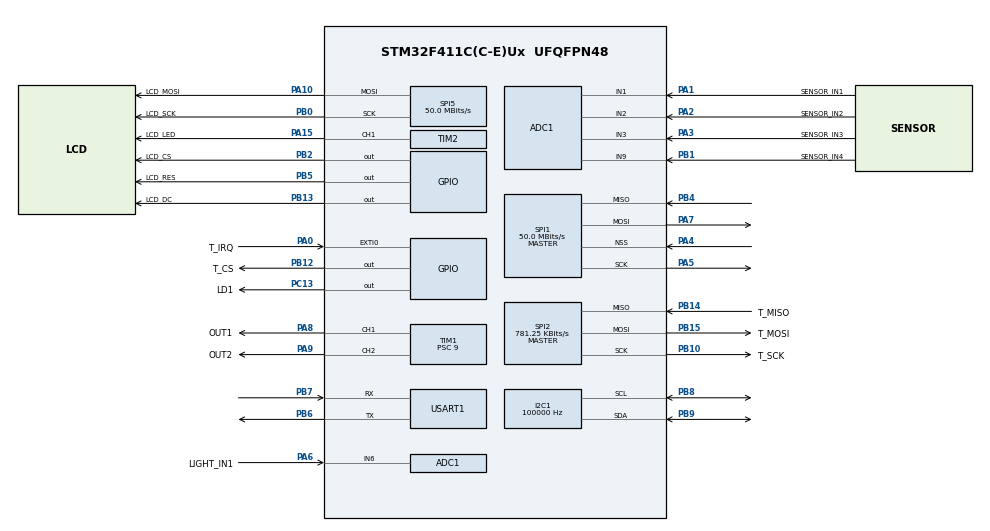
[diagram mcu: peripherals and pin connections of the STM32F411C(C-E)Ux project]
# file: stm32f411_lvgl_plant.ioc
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ADC1.Channel-0\#ChannelRegularConversion=ADC_CHANNEL_1
ADC1.Channel-1\#ChannelRegularConversion=ADC_CHANNEL_2
ADC1.Channel-2\#ChannelRegularConversion=ADC_CHANNEL_3
ADC1.Channel-3\#ChannelRegularConversion=ADC_CHANNEL_6
ADC1.Channel-4\#ChannelRegularConversion=ADC_CHANNEL_9
ADC1.ClockPrescaler=ADC_CLOCK_SYNC_PCLK_DIV8
ADC1.ContinuousConvMode=ENABLE
ADC1.DMAContinuousRequests=ENABLE
ADC1.EOCSelection=ADC_EOC_SEQ_CONV
ADC1.NbrOfConversion=5
ADC1.NbrOfConversionFlag=1
ADC1.Rank-0\#ChannelRegularConversion=1
ADC1.Rank-1\#ChannelRegularConversion=2
ADC1.Rank-2\#ChannelRegularConversion=3
ADC1.Rank-3\#ChannelRegularConversion=4
ADC1.Rank-4\#ChannelRegularConversion=5
ADC1.SamplingTime-0\#ChannelRegularConversion=ADC_SAMPLETIME_84CYCLES
ADC1.SamplingTime-1\#ChannelRegularConversion=ADC_SAMPLETIME_84CYCLES
ADC1.SamplingTime-2\#ChannelRegularConversion=ADC_SAMPLETIME_84CYCLES
ADC1.SamplingTime-3\#ChannelRegularConversion=ADC_SAMPLETIME_84CYCLES
ADC1.SamplingTime-4\#ChannelRegularConversion=ADC_SAMPLETIME_84CYCLES
ADC1.ScanConvMode=ENABLE
ADC1.master=1
Dma.ADC1.1.Direction=DMA_PERIPH_TO_MEMORY
Dma.ADC1.1.FIFOMode=DMA_FIFOMODE_DISABLE
Dma.ADC1.1.Instance=DMA2_Stream0
Dma.ADC1.1.MemDataAlignment=DMA_MDATAALIGN_HALFWORD
Dma.ADC1.1.MemInc=DMA_MINC_ENABLE
Dma.ADC1.1.Mode=DMA_CIRCULAR
Dma.ADC1.1.PeriphDataAlignment=DMA_PDATAALIGN_HALFWORD
Dma.ADC1.1.PeriphInc=DMA_PINC_DISABLE
Dma.ADC1.1.Priority=DMA_PRIORITY_LOW
Dma.Request0=SPI5_TX
Dma.Request1=ADC1
Dma.SPI5_TX.0.Direction=DMA_MEMORY_TO_PERIPH
Dma.SPI5_TX.0.FIFOMode=DMA_FIFOMODE_DISABLE
Dma.SPI5_TX.0.Instance=DMA2_Stream4
Dma.SPI5_TX.0.MemDataAlignment=DMA_MDATAALIGN_BYTE
Dma.SPI5_TX.0.MemInc=DMA_MINC_ENABLE
Dma.SPI5_TX.0.Mode=DMA_NORMAL
Dma.SPI5_TX.0.PeriphDataAlignment=DMA_PDATAALIGN_BYTE
Dma.SPI5_TX.0.PeriphInc=DMA_PINC_DISABLE
Dma.SPI5_TX.0.Priority=DMA_PRIORITY_VERY_HIGH
I2C1.ClockSpeed=100000
I2C1.I2C_Mode=I2C_Standard
Mcu.Family=STM32F4
Mcu.Name=STM32F411C(C-E)Ux
Mcu.Package=UFQFPN48
NVIC.DMA2_Stream0_IRQn=true\:0\:0\:false\:false\:true\:false\:true\:true
NVIC.DMA2_Stream4_IRQn=true\:0\:0\:false\:false\:true\:false\:true\:true
NVIC.EXTI0_IRQn=true\:0\:0\:false\:false\:true\:true\:true\:true
NVIC.I2C1_ER_IRQn=true\:0\:0\:false\:false\:true\:true\:true\:true
NVIC.I2C1_EV_IRQn=true\:0\:0\:false\:false\:true\:true\:true\:true
NVIC.PriorityGroup=NVIC_PRIORITYGROUP_4
NVIC.TIM1_UP_TIM10_IRQn=true\:0\:0\:false\:false\:true\:true\:true\:true
NVIC.TIM2_IRQn=true\:0\:0\:false\:false\:true\:true\:true\:true
NVIC.TIM5_IRQn=true\:0\:0\:false\:false\:true\:true\:true\:true
PA0-WKUP.GPIO_Label=T_IRQ
PA0-WKUP.GPIO_ModeDefaultEXTI=GPIO_MODE_IT_FALLING
PA0-WKUP.GPIO_PuPd=GPIO_PULLUP
PA0-WKUP.Signal=GPXTI0
PA1.GPIO_Label=SENSOR_IN1
PA1.Signal=ADCx_IN1
PA10.GPIO_Label=LCD_MOSI
PA10.Mode=TX_Only_Simplex_Unidirect_Master
PA10.Signal=SPI5_MOSI
PA13.Mode=Trace_Asynchronous_SW
PA13.Signal=SYS_JTMS-SWDIO
PA14.Mode=Trace_Asynchronous_SW
PA14.Signal=SYS_JTCK-SWCLK
PA15.GPIO_Label=LCD_LED
PA15.Signal=S_TIM2_CH1_ETR
PA2.GPIO_Label=SENSOR_IN2
PA2.Signal=ADCx_IN2
PA3.GPIO_Label=SENSOR_IN3
PA3.Signal=ADCx_IN3
PA4.Mode=NSS_Signal_Hard_Input
PA4.Signal=SPI1_NSS
PA5.Mode=Full_Duplex_Master
PA5.Signal=SPI1_SCK
PA6.GPIO_Label=LIGHT_IN1
PA6.Signal=ADCx_IN6
PA7.Mode=Full_Duplex_Master
PA7.Signal=SPI1_MOSI
PA8.GPIO_Label=OUT1
PA8.Signal=S_TIM1_CH1
PA9.GPIO_Label=OUT2
PA9.Signal=S_TIM1_CH2
PB0.GPIO_Label=LCD_SCK
PB0.Mode=TX_Only_Simplex_Unidirect_Master
PB0.Signal=SPI5_SCK
PB1.GPIO_Label=SENSOR_IN4
PB1.Signal=ADCx_IN9
PB10.GPIO_Label=T_SCK
PB10.Mode=Full_Duplex_Master
PB10.Signal=SPI2_SCK
PB12.GPIO_Label=T_CS
PB12.GPIO_Speed=GPIO_SPEED_FREQ_HIGH
PB12.PinState=GPIO_PIN_SET
PB12.Signal=GPIO_Output
PB13.GPIO_Label=LCD_DC
PB13.Signal=GPIO_Output
PB14.GPIO_Label=T_MISO
PB14.Mode=Full_Duplex_Master
PB14.Signal=SPI2_MISO
PB15.GPIO_Label=T_MOSI
PB15.Mode=Full_Duplex_Master
PB15.Signal=SPI2_MOSI
PB2.GPIO_Label=LCD_CS
PB2.Signal=GPIO_Output
PB3.Mode=Trace_Asynchronous_SW
PB3.Signal=SYS_JTDO-SWO
PB4.Mode=Full_Duplex_Master
PB4.Signal=SPI1_MISO
PB5.GPIO_Label=LCD_RES
PB5.Signal=GPIO_Output
PB6.Mode=Asynchronous
PB6.Signal=USART1_TX
PB7.Mode=Asynchronous
PB7.Signal=USART1_RX
PB8.Mode=I2C
PB8.Signal=I2C1_SCL
PB9.Mode=I2C
PB9.Signal=I2C1_SDA
PC13-ANTI_TAMP.GPIO_Label=LD1
PC13-ANTI_TAMP.Signal=GPIO_Output
PC14-OSC32_IN.Mode=LSE-External-Oscillator
PC14-OSC32_IN.Signal=RCC_OSC32_IN
PC15-OSC32_OUT.Mode=LSE-External-Oscillator
PC15-OSC32_OUT.Signal=RCC_OSC32_OUT
PH0\ -\ OSC_IN.Mode=HSE-External-Oscillator
PH0\ -\ OSC_IN.Signal=RCC_OSC_IN
PH1\ -\ OSC_OUT.Mode=HSE-External-Oscillator
PH1\ -\ OSC_OUT.Signal=RCC_OSC_OUT
ProjectManager.HeapSize=0x200
ProjectManager.StackSize=0x400
ProjectManager.TargetToolchain=STM32CubeIDE
RCC.48MHZClocksFreq_Value=50000000
RCC.AHBFreq_Value=100000000
RCC.APB1CLKDivider=RCC_HCLK_DIV2
RCC.APB1Freq_Value=50000000
RCC.APB1TimFreq_Value=100000000
RCC.APB2Freq_Value=100000000
RCC.APB2TimFreq_Value=100000000
RCC.CortexFreq_Value=100000000
RCC.HCLKFreq_Value=100000000
RCC.HSE_VALUE=25000000
RCC.HSI_VALUE=16000000
RCC.PLLM=12
RCC.PLLN=96
RCC.PLLSourceVirtual=RCC_PLLSOURCE_HSE
RCC.RCC_RTC_Clock_Source=RCC_RTCCLKSOURCE_LSE
RCC.RCC_RTC_Clock_SourceVirtual=RCC_RTCCLKSOURCE_LSE
RCC.SYSCLKFreq_VALUE=100000000
RCC.SYSCLKSource=RCC_SYSCLKSOURCE_PLLCLK
RCC.VCOOutputFreq_Value=200000000
RTC.Date=26
RTC.Format=RTC_FORMAT_BIN
RTC.Hours=12
RTC.Minutes=13
RTC.Month=RTC_MONTH_OCTOBER
RTC.Seconds=14
RTC.WeekDay=RTC_WEEKDAY_THURSDAY
RTC.Year=22
SH.ADCx_IN1.0=ADC1_IN1,IN1
SH.ADCx_IN2.0=ADC1_IN2,IN2
SH.ADCx_IN3.0=ADC1_IN3,IN3
SH.ADCx_IN6.0=ADC1_IN6,IN6
SH.ADCx_IN9.0=ADC1_IN9,IN9
SH.S_TIM1_CH1.0=TIM1_CH1,PWM Generation1 CH1
SH.S_TIM1_CH2.0=TIM1_CH2,PWM Generation2 CH2
SH.S_TIM2_CH1_ETR.0=TIM2_CH1,PWM Generation1 CH1
SPI1.CalculateBaudRate=50.0 MBits/s
SPI1.Direction=SPI_DIRECTION_2LINES
SPI1.Mode=SPI_MODE_MASTER
SPI1.VirtualNSS=VM_NSSHARD
SPI1.VirtualType=VM_MASTER
SPI2.BaudRatePrescaler=SPI_BAUDRATEPRESCALER_64
SPI2.CalculateBaudRate=781.25 KBits/s
SPI2.Direction=SPI_DIRECTION_2LINES
SPI2.Mode=SPI_MODE_MASTER
SPI2.VirtualType=VM_MASTER
SPI5.BaudRatePrescaler=SPI_BAUDRATEPRESCALER_2
SPI5.CalculateBaudRate=50.0 MBits/s
SPI5.Direction=SPI_DIRECTION_2LINES
SPI5.Mode=SPI_MODE_MASTER
SPI5.VirtualType=VM_MASTER
TIM1.Channel-PWM\ Generation1\ CH1=TIM_CHANNEL_1
TIM1.Channel-PWM\ Generation2\ CH2=TIM_CHANNEL_2
TIM1.Period=999
TIM1.Prescaler=9
TIM1.Pulse-PWM\ Generation1\ CH1=499
TIM1.Pulse-PWM\ Generation2\ CH2=499
TIM2.Channel-PWM\ Generation1\ CH1=TIM_CHANNEL_1
TIM2.Period=999
TIM2.Prescaler=1
TIM5.Period=100000
USART1.VirtualMode=VM_ASYNC
VP_RTC_VS_RTC_Activate.Mode=RTC_Enabled
VP_RTC_VS_RTC_Calendar.Mode=RTC_Calendar
VP_TIM1_VS_ClockSourceINT.Mode=Internal
VP_TIM2_VS_ClockSourceINT.Mode=Internal
VP_TIM5_VS_ClockSourceINT.Mode=Internal
board=custom

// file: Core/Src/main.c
/* USER CODE BEGIN Header */
/**
  ******************************************************************************
  * @file           : main.c
  * @brief          : Main program body
  ******************************************************************************
  * @attention
  *
  * Copyright (c) 2022 STMicroelectronics.
  * All rights reserved.
  *
  * This software is licensed under terms that can be found in the LICENSE file
  * in the root directory of this software component.
  * If no LICENSE file comes with this software, it is provided AS-IS.
  *
  ******************************************************************************
  */
/* USER CODE END Header */
#include "main.h"
#include "adc.h"
#include "dma.h"
#include "i2c.h"
#include "rtc.h"
#include "spi.h"
#include "tim.h"
#include "usart.h"
#include "gpio.h"

/* USER CODE BEGIN Includes */
#include "../../lvgl/lvgl.h"

#include "../../XPT2064/XPT2064.h"
#include "../../XPT2064/lv_drv.h"

#include "../../ILI9341/core.h"
#include "../../ILI9341/lv_driver.h"

//#include "logo.h"

//#include "../../lvgl/examples/lv_examples.h"

#include "../UI/ui.h"

#include "ctrl_device.h"
#include "ctrl_measure.h"
#include "ctrl_ui.h"
#include "debug.h"
#include "ctrl_timing.h"
#include "ctrl_process.h"

#include "ctrl_htu21d.h"
#include "ctrl_initialize.h"
//#include "../../lvgl/demos/lv_demos.h"
/* USER CODE END Includes */

void SystemClock_Config(void);

/* USER CODE BEGIN 0 */
static lv_disp_draw_buf_t disp_buf;
volatile uint16_t tim1Ch1_fill = 0;
volatile uint16_t tim1Ch2_fill = 0;
volatile uint8_t encoder_Pos=0;
 //The second buffer is optional*/

#define ILI_SCR_HORIZONTAL 320
#define ILI_SCR_VERTICAL   240
#define BUFFOR_SCR_ROWS 40

 static lv_color_t buf_1[ILI_SCR_HORIZONTAL * BUFFOR_SCR_ROWS] ;
 static lv_color_t buf_2[ILI_SCR_HORIZONTAL * BUFFOR_SCR_ROWS] ; //__attribute__ ((section (".LvBufferSection")))
 	 	 	 	 	 	 	 	 	 	 	 	 	 	 //DMA don't have acces to CCMRAM :(
 	 	 	 	 	 	 	 	 	 	 	 	 	 	 	 //I don't have so too much time on experiments
 static lv_disp_drv_t disp_drv;
/* USER CODE END 0 */

int main(void)
{

  /* MCU Configuration--------------------------------------------------------*/

  /* Reset of all peripherals, Initializes the Flash interface and the Systick. */
  HAL_Init();

  /* Configure the system clock */
  SystemClock_Config();

  /* Initialize all configured peripherals */
  MX_GPIO_Init();
  MX_DMA_Init();
  MX_SPI2_Init();
  MX_SPI5_Init();
  MX_ADC1_Init();
  MX_I2C1_Init();
  MX_SPI1_Init();
  MX_TIM1_Init();
  MX_TIM5_Init();
  MX_TIM2_Init();
  MX_RTC_Init();
  MX_USART1_UART_Init();
  /* USER CODE BEGIN 2 */
//**********************************************************************************************************************
  ctrl_device_init();
  ctrl_measure_init();
  co_timing_init(&TIMING);

  ctrl_plant_init(&PLANT1);
  ctrl_plant_init(&PLANT2);

//**********************************************************************************************************************
  ILI9341_Init();
  XPT2046_Init(&hspi2, EXTI0_IRQn);
  HAL_Delay(30);

	lv_init();
	lv_disp_draw_buf_init(&disp_buf, buf_1, buf_2, ILI_SCR_HORIZONTAL * BUFFOR_SCR_ROWS);
	lv_disp_drv_init(&disp_drv);            /*Basic initialization*/
	disp_drv.draw_buf = &disp_buf;          /*Set an initialized buffer*/
	disp_drv.flush_cb = ILI9341_flush;        /*Set a flush callback to draw to the display*/
	disp_drv.hor_res = ILI_SCR_HORIZONTAL;                 /*Set the horizontal resolution in pixels*/
	disp_drv.ver_res = ILI_SCR_VERTICAL;                 /*Set the vertical resolution in pixels*/
	lv_disp_drv_register(&disp_drv); /*Register the driver and save the created display objects*/

    lv_indev_drv_t indev_drv;
    lv_indev_drv_init(&indev_drv);
    indev_drv.type =LV_INDEV_TYPE_POINTER;
    indev_drv.read_cb = lvXPT2064_Read;
    lv_indev_drv_register(&indev_drv);
    HAL_Delay(10);

  //lv_example_get_started_1();
  //lv_example_textarea_2();
  //lv_example_win_1();
  //lv_example_animimg_1();
  //lv_example_flex_1();
  //lv_example_scroll_6();
 // lv_example_chart_5();
  //lv_example_btnmatrix_3();
  //lv_example_label_1(); //ciekawe przesuwanie tekstu!
  //lv_example_img_3();  //o to jest mocne :D sporo zasobów musi zrec
  //lv_example_table_2();
  //lv_demo_widgets();
 // lv_example_menu_5();
  //lv_example_tabview_1();
  ctrl_initialize();
  ui_init();
  cui_init();

  printf("\n init!");

//  uint32_t LedTim0;
  uint32_t lvglTime=0;
  /* USER CODE END 2 */

  /* Infinite loop */
  /* USER CODE BEGIN WHILE */
  while (1)
  {

	  ctrl_device();

	  if(HAL_GetTick()- lvglTime >=2)
	  {
		  lvglTime=HAL_GetTick();
		  lv_task_handler();
		  lv_timer_handler();

		  ctrl_plant_ctrl(&PLANT1);
		  ctrl_plant_ctrl(&PLANT2);
		  //encoder_Pos= TIM4->CNT;

	  }
	  XPT2046_Task();
    /* USER CODE END WHILE */

  }
}

void SystemClock_Config(void)
{
  LL_FLASH_SetLatency(LL_FLASH_LATENCY_3);
  while(LL_FLASH_GetLatency()!= LL_FLASH_LATENCY_3)
  {
  }
  LL_PWR_SetRegulVoltageScaling(LL_PWR_REGU_VOLTAGE_SCALE1);
  LL_RCC_HSE_Enable();

   /* Wait till HSE is ready */
  while(LL_RCC_HSE_IsReady() != 1)
  {

  }
  LL_PWR_EnableBkUpAccess();
  LL_RCC_LSE_Enable();

   /* Wait till LSE is ready */
  while(LL_RCC_LSE_IsReady() != 1)
  {

  }
  LL_RCC_PLL_ConfigDomain_SYS(LL_RCC_PLLSOURCE_HSE, LL_RCC_PLLM_DIV_12, 96, LL_RCC_PLLP_DIV_2);
  LL_RCC_PLL_Enable();

   /* Wait till PLL is ready */
  while(LL_RCC_PLL_IsReady() != 1)
  {

  }
  LL_RCC_SetAHBPrescaler(LL_RCC_SYSCLK_DIV_1);
  LL_RCC_SetAPB1Prescaler(LL_RCC_APB1_DIV_2);
  LL_RCC_SetAPB2Prescaler(LL_RCC_APB2_DIV_1);
  LL_RCC_SetSysClkSource(LL_RCC_SYS_CLKSOURCE_PLL);

   /* Wait till System clock is ready */
  while(LL_RCC_GetSysClkSource() != LL_RCC_SYS_CLKSOURCE_STATUS_PLL)
  {

  }
  LL_SetSystemCoreClock(100000000);

   /* Update the time base */
  if (HAL_InitTick (TICK_INT_PRIORITY) != HAL_OK)
  {
    Error_Handler();
  }
  LL_RCC_SetTIMPrescaler(LL_RCC_TIM_PRESCALER_TWICE);
}

/* USER CODE BEGIN 4 */
void HAL_GPIO_EXTI_Callback(uint16_t GPIO_Pin)
{
	if(GPIO_Pin == T_IRQ_Pin)
	{
		XPT2046_IRQ();
	}
}

void SYSTICK_lvgl_handler(void)
{
	lv_tick_inc(1);

}
/* USER CODE END 4 */

void Error_Handler(void)
{
  __disable_irq();
  while (1)
  {
  }
}
